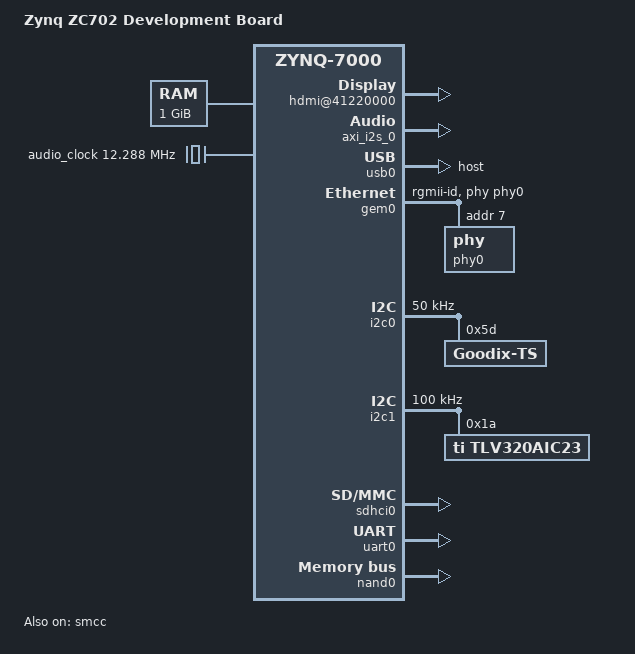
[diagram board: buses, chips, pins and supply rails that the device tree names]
/*
 *  Copyright (C) 2011 - 2014 Xilinx
 *  Copyright (C) 2012 National Instruments Corp.
 *
 * This software is licensed under the terms of the GNU General Public
 * License version 2, as published by the Free Software Foundation, and
 * may be copied, distributed, and modified under those terms.
 *
 * This program is distributed in the hope that it will be useful,
 * but WITHOUT ANY WARRANTY; without even the implied warranty of
 * MERCHANTABILITY or FITNESS FOR A PARTICULAR PURPOSE.  See the
 * GNU General Public License for more details.
 */
/dts-v1/;
/include/ "zynq-7000.dtsi"

/ {
	model = "Zynq ZC702 Development Board";
	compatible = "xlnx,zynq-zc702", "xlnx,zynq-7000";

	aliases {
		ethernet0 = &gem0;
		i2c0 = &i2c0;
		i2c1 = &i2c1;
		serial0 = &uart0;
	};

	memory {
		device_type = "memory";
		reg = <0x0 0x40000000>;
	};

	chosen {
		bootargs = "console=ttyPS0,115200 ubi.mtd=0 root=ubi0:rootfs
		    rootfstype=ubifs init=/init rw earlyprintk 
			ip=192.168.1.10:::255.255.255.0:ZC702:eth0 mem=1008M";
		//bootargs = "console=ttyPS0,115200 root=/dev/ram rw earlyprintk"; 
		    //mem=960M memmap=32M$0x3C000000 vmalloc=64M";
		/*bootargs = "console=tty0 console=ttyPS0,115200 root=/dev/mmcblk0p2 rw
			ip=192.168.1.10:::255.255.255.0:ZC702:eth0 earlyprintk rootfstype=ext4 rootwait
			devtmpfs.mount=0 --no-log";*/
		linux,stdout-path = "/amba/serial@e0000000";
	};
		hdmi@41220000 {
			compatible = "v3best,hdmi-out-1.00.a";
			reg = <0x41220000 0x40>;
			v3best,xres = <0x400>;
			v3best,yres = <0x258>;
			v3best,xvirt = <0x400>;
			v3best,yvirt = <0x258>;
			//v3best,yvirt = <0x4B0>;
			v3best,hbp = <0xa0>;
			v3best,hfp = <0xa0>;
			v3best,hsync_len = <16>;
			v3best,h_active = <0x400>;
			v3best,vbp = <0x17>;
			v3best,vfp = <0xc>;
			v3best,vsync_len = <12>;
			v3best,v_active = <0x258>;
			v3best,fbphy = <0x3F000000>;
		};

		audio_clock: audio_clock {
			compatible = "fixed-clock";
			#clock-cells = <0>;
			clock-frequency = <12288000>;
			//clock-frequency = <12340000>;
		};
		axi_i2s_0: axi-i2s@77600000 {
			compatible = "adi,axi-i2s-1.00.a";
			reg = <0x77600000 0x1000>;
			dmas = <&dmac_s 0 &dmac_s 1>;
			dma-names = "tx", "rx";
			clocks = <&clkc 15>, <&audio_clock>, <&audio_clock>;
			clock-names = "axi", "ref", "i2s";
			status = "okay";
		};

		zingsk_sound: zingsk_sound {
			compatible = "v3best,zingsk-sound";
			audio-codec = <&tlv320aic23>;
			cpu-dai = <&axi_i2s_0>;
			status = "okay";
		};
};

&dmac_s {
    status = "okay";
};

&usb0 {
	status = "okay";
	dr_mode = "host";
	phy_type = "ulpi";
	usb-reset = <&gpio0 7 0>;
};

&gem0 {
	status = "okay";
	phy-mode = "rgmii-id";
	phy-handle = <&phy0>;

	phy0: phy@7 {
		reg = <7>;
	};
};

&i2c0 {
	status = "okay";
	clock-frequency = <50000>;
/*	ft5x0x_ts@38 {
		compatible = "ft5x0x_ts";
		reg = <0x38>;
	};*/
	Goodix-TS@5d {
		compatible = "Goodix-TS";
		reg = <0x5d>;
	};
};

&i2c1 {
	status = "okay";
	clock-frequency = <100000>;
	tlv320aic23: codec@1a {
		compatible = "ti,tlv320aic23";
		reg = <0x1a>;
	};
};

&sdhci0 {
	status = "okay";
};

&uart0 {
	status = "okay";
};
&smcc {
	status = "okay";
	arm,addr25 = <0x0>;
	arm,nor-chip-sel0 = <0x0>;
	arm,nor-chip-sel1 = <0x0>;
	arm,sram-chip-sel0 = <0x0>;
	arm,sram-chip-sel1 = <0x0>;
};
&nand0 {
	status = "okay";
	arm,nand-cycle-t0 = <0x4>;
	arm,nand-cycle-t1 = <0x4>;
	arm,nand-cycle-t2 = <0x1>;
	arm,nand-cycle-t3 = <0x2>;
	arm,nand-cycle-t4 = <0x2>;
	arm,nand-cycle-t5 = <0x2>;
	arm,nand-cycle-t6 = <0x4>;
	partition@nand-android {
		label = "nand-android";
		reg = <0x0 0x20000000>;
	};
};
